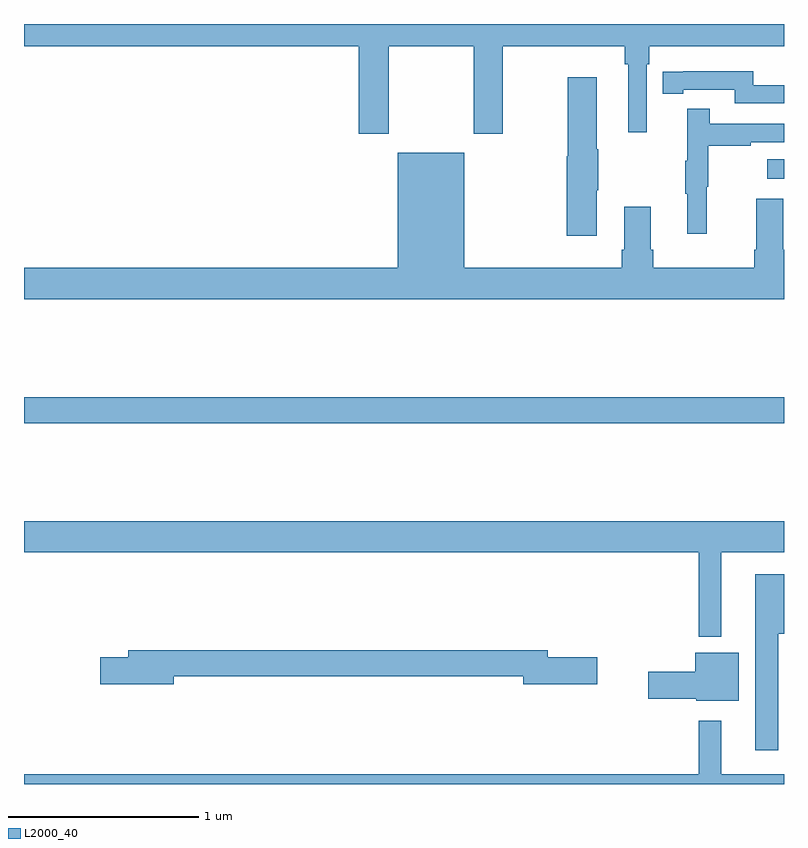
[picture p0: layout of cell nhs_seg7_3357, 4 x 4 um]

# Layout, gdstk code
import gdstk
lib = gdstk.Library(unit=1e-6, precision=1e-09)
def R(c, l, rs):  # rectangles x0, y0, x1, y1
    for r in rs: c.add(gdstk.rectangle(r[:2], r[2:], *l))
def P(c, l, *ps):  # polygons
    for p in ps: c.add(gdstk.Polygon(p, *l))
L2000_40 = (2000, 40)

nhs_seg7_3357 = lib.new_cell('nhs_seg7_3357')
R(nhs_seg7_3357, L2000_40, [(323,1063.9,327,1064.036), (326.913,1065.185,327,1065.289)])
P(nhs_seg7_3357, L2000_40, [(324.921,1065.884),(325.366,1065.884),(325.366,1065.423),(325.521,1065.423),(325.521,1065.884),(326.161,1065.884),(326.161,1065.788),(326.18,1065.788),(326.18,1065.429),(326.277,1065.429),(326.277,1065.788),(326.291,1065.788),(326.291,1065.884),(327,1065.884),(327,1066),(323,1066),(323,1065.884),(324.761,1065.884),(324.761,1065.423),(324.921,1065.423)],
  [(327,1065.678),(326.838,1065.678),(326.838,1065.751),(326.47,1065.751),(326.47,1065.75),(326.362,1065.75),(326.362,1065.634),(326.47,1065.634),(326.47,1065.654),(326.742,1065.654),(326.742,1065.582),(327,1065.582)],
  [(326.014,1065.124),(326.022,1065.124),(326.022,1065.341),(326.014,1065.341),(326.014,1065.721),(325.861,1065.721),(325.861,1065.303),(325.856,1065.303),(325.856,1064.886),(326.014,1064.886)],
  [(326.594,1065.144),(326.602,1065.144),(326.602,1065.358),(326.825,1065.358),(326.825,1065.378),(327,1065.378),(327,1065.474),(326.609,1065.474),(326.609,1065.553),(326.492,1065.553),(326.492,1065.281),(326.481,1065.281),(326.481,1065.107),(326.492,1065.107),(326.492,1064.895),(326.594,1064.895)],
  [(327,1064.812),(326.995,1064.812),(326.995,1065.079),(326.855,1065.079),(326.855,1064.812),(326.843,1064.812),(326.843,1064.716),(326.312,1064.716),(326.312,1064.812),(326.299,1064.812),(326.299,1065.037),(326.159,1065.037),(326.159,1064.812),(326.147,1064.812),(326.147,1064.716),(325.318,1064.716),(325.318,1065.322),(324.968,1065.322),(324.968,1064.716),(323,1064.716),(323,1064.552),(327,1064.552)],
  [(326.671,1063.22),(327,1063.22),(327,1063.384),(323,1063.384),(323,1063.22),(326.55,1063.22),(326.55,1062.776),(326.671,1062.776)],
  [(326.971,1062.79),(327,1062.79),(327,1063.105),(326.849,1063.105),(326.849,1062.177),(326.971,1062.177)],
  [(323.788,1062.568),(325.628,1062.568),(325.628,1062.526),(326.017,1062.526),(326.017,1062.668),(325.756,1062.668),(325.756,1062.704),(323.549,1062.704),(323.549,1062.668),(323.4,1062.668),(323.4,1062.526),(323.788,1062.526)],
  [(326.761,1062.691),(326.534,1062.691),(326.534,1062.59),(326.286,1062.59),(326.286,1062.448),(326.538,1062.448),(326.538,1062.437),(326.761,1062.437)],
  [(327,1062.052),(326.671,1062.052),(326.671,1062.334),(326.55,1062.334),(326.55,1062.052),(323,1062.052),(323,1062),(327,1062)])

lib.write_gds('nhs_seg7_3357.gds')
